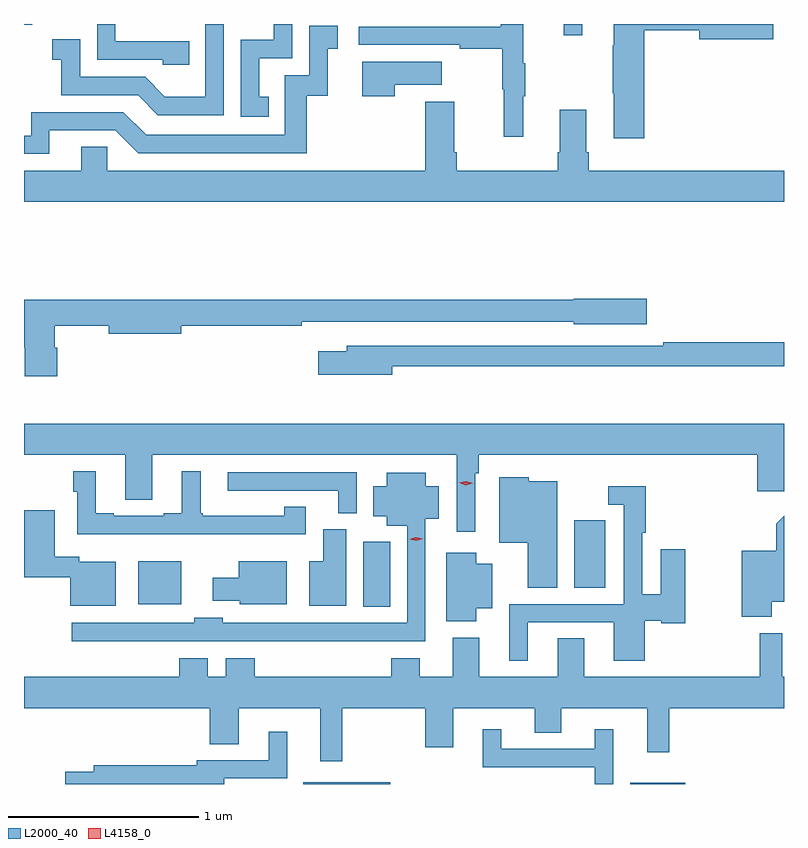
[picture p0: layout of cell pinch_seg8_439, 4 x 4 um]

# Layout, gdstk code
import gdstk
lib = gdstk.Library(unit=1e-6, precision=1e-09)
def R(c, l, rs):  # rectangles x0, y0, x1, y1
    for r in rs: c.add(gdstk.rectangle(r[:2], r[2:], *l))
def P(c, l, *ps):  # polygons
    for p in ps: c.add(gdstk.Polygon(p, *l))
L2000_40 = (2000, 40)
L4158_0 = (4158, 0)

pinch_seg8_439 = lib.new_cell('pinch_seg8_439')
R(pinch_seg8_439, L2000_40, [(334.643,1122.76,335.101,1122.768), (336.363,1122.76,336.652,1122.766), (334.958,1123.693,335.101,1124.035), (333.773,1123.706,334,1123.933), (336.068,1123.792,336.232,1124.149), (336.015,1126.701,336.112,1126.76), (333.173,1126.755,333.217,1126.76)])
P(pinch_seg8_439, L2000_40, [(334.043,1126.668),(333.654,1126.668),(333.654,1126.76),(333.558,1126.76),(333.558,1126.572),(333.903,1126.572),(333.903,1126.545),(334.043,1126.545)],
  [(335.801,1126.379),(335.812,1126.379),(335.812,1126.553),(335.801,1126.553),(335.801,1126.76),(335.683,1126.76),(335.683,1126.746),(334.935,1126.746),(334.935,1126.65),(335.467,1126.65),(335.467,1126.63),(335.691,1126.63),(335.691,1126.416),(335.698,1126.416),(335.698,1126.167),(335.801,1126.167)],
  [(334.46,1126.377),(334.411,1126.377),(334.411,1126.581),(334.584,1126.581),(334.584,1126.76),(334.488,1126.76),(334.488,1126.677),(334.314,1126.677),(334.314,1126.272),(334.46,1126.272)],
  [(334.224,1126.76),(334.128,1126.76),(334.128,1126.378),(333.914,1126.378),(333.81,1126.482),(333.468,1126.482),(333.468,1126.681),(333.321,1126.681),(333.321,1126.571),(333.37,1126.571),(333.37,1126.386),(333.773,1126.386),(333.878,1126.281),(334.224,1126.281)],
  [(336.437,1126.726),(336.728,1126.726),(336.728,1126.679),(337.117,1126.679),(337.117,1126.76),(336.278,1126.76),(336.278,1126.649),(336.271,1126.649),(336.271,1126.396),(336.278,1126.396),(336.278,1126.158),(336.437,1126.158)],
  [(333.307,1126.2),(333.654,1126.2),(333.774,1126.08),(334.661,1126.08),(334.661,1126.383),(334.772,1126.383),(334.772,1126.629),(334.825,1126.629),(334.825,1126.75),(334.674,1126.75),(334.674,1126.491),(334.545,1126.491),(334.545,1126.176),(333.816,1126.176),(333.696,1126.296),(333.21,1126.296),(333.21,1126.173),(333.173,1126.173),(333.173,1126.077),(333.307,1126.077)],
  [(335.123,1126.439),(335.371,1126.439),(335.371,1126.561),(334.952,1126.561),(334.952,1126.38),(335.123,1126.38)],
  [(337.173,1125.988),(336.146,1125.988),(336.146,1126.084),(336.133,1126.084),(336.133,1126.309),(335.993,1126.309),(335.993,1126.084),(335.981,1126.084),(335.981,1125.988),(335.45,1125.988),(335.45,1126.084),(335.437,1126.084),(335.437,1126.351),(335.285,1126.351),(335.285,1125.988),(333.612,1125.988),(333.612,1126.115),(333.473,1126.115),(333.473,1125.988),(333.173,1125.988),(333.173,1125.824),(337.173,1125.824)],
  [(333.347,1125.057),(333.334,1125.057),(333.334,1125.172),(333.62,1125.172),(333.62,1125.13),(334,1125.13),(334,1125.172),(334.634,1125.172),(334.634,1125.192),(336.066,1125.192),(336.066,1125.179),(336.451,1125.179),(336.451,1125.314),(336.066,1125.314),(336.066,1125.308),(333.173,1125.308),(333.173,1125.057),(333.176,1125.057),(333.176,1124.907),(333.347,1124.907)],
  [(335.11,1124.958),(337.173,1124.958),(337.173,1125.086),(336.538,1125.086),(336.538,1125.066),(334.871,1125.066),(334.871,1125.037),(334.722,1125.037),(334.722,1124.915),(335.11,1124.915)],
  [(335.547,1124.396),(335.567,1124.396),(335.567,1124.492),(337.031,1124.492),(337.031,1124.301),(337.173,1124.301),(337.173,1124.656),(333.173,1124.656),(333.173,1124.492),(333.707,1124.492),(333.707,1124.257),(333.847,1124.257),(333.847,1124.492),(335.451,1124.492),(335.451,1124.088),(335.547,1124.088)],
  [(334.208,1124.075),(334.657,1124.075),(334.657,1124.219),(334.544,1124.219),(334.544,1124.173),(334.114,1124.173),(334.114,1124.185),(334.102,1124.185),(334.102,1124.407),(334.004,1124.407),(334.004,1124.185),(333.908,1124.185),(333.908,1124.172),(333.646,1124.172),(333.646,1124.185),(333.55,1124.185),(333.55,1124.407),(333.433,1124.407),(333.433,1124.297),(333.453,1124.297),(333.453,1124.075),(334.008,1124.075),(334.008,1124.074),(334.208,1124.074)],
  [(334.923,1124.4),(334.245,1124.4),(334.245,1124.304),(334.826,1124.304),(334.826,1124.185),(334.923,1124.185)],
  [(333.968,1123.512),(334.471,1123.512),(334.471,1123.511),(335.021,1123.511),(335.021,1123.512),(335.286,1123.512),(335.286,1124.156),(335.356,1124.156),(335.356,1124.326),(335.287,1124.326),(335.287,1124.398),(335.081,1124.398),(335.081,1124.326),(335.012,1124.326),(335.012,1124.168),(335.081,1124.168),(335.081,1124.12),(335.19,1124.12),(335.19,1123.608),(334.218,1123.608),(334.218,1123.636),(334.068,1123.636),(334.068,1123.608),(333.423,1123.608),(333.423,1123.511),(333.968,1123.511)],
  [(335.98,1124.353),(335.829,1124.353),(335.829,1124.374),(335.675,1124.374),(335.675,1124.03),(335.825,1124.03),(335.825,1123.792),(335.98,1123.792)],
  [(335.824,1123.611),(336.278,1123.611),(336.278,1123.41),(336.44,1123.41),(336.44,1123.618),(336.528,1123.618),(336.528,1123.607),(336.654,1123.607),(336.654,1123.996),(336.524,1123.996),(336.524,1123.76),(336.426,1123.76),(336.426,1124.083),(336.446,1124.083),(336.446,1124.326),(336.249,1124.326),(336.249,1124.229),(336.33,1124.229),(336.33,1123.707),(335.726,1123.707),(335.726,1123.41),(335.824,1123.41)],
  [(333.655,1123.929),(333.465,1123.929),(333.465,1123.957),(333.334,1123.957),(333.334,1124.2),(333.173,1124.2),(333.173,1123.847),(333.416,1123.847),(333.416,1123.697),(333.655,1123.697)],
  [(337.108,1123.718),(337.173,1123.718),(337.173,1124.171),(337.133,1124.131),(337.133,1123.987),(336.95,1123.987),(336.95,1123.639),(337.108,1123.639)],
  [(334.87,1124.1),(334.748,1124.1),(334.748,1123.933),(334.673,1123.933),(334.673,1123.697),(334.87,1123.697)],
  [(335.554,1123.685),(335.638,1123.685),(335.638,1123.918),(335.554,1123.918),(335.554,1123.978),(335.396,1123.978),(335.396,1123.617),(335.554,1123.617)],
  [(334.555,1123.933),(334.304,1123.933),(334.304,1123.846),(334.167,1123.846),(334.167,1123.724),(334.308,1123.724),(334.308,1123.706),(334.555,1123.706)],
  [(334.847,1123.16),(335.284,1123.16),(335.284,1122.954),(335.431,1122.954),(335.431,1123.16),(335.861,1123.16),(335.861,1123.03),(336.001,1123.03),(336.001,1123.16),(336.452,1123.16),(336.452,1122.927),(336.569,1122.927),(336.569,1123.16),(337.173,1123.16),(337.173,1123.324),(337.163,1123.324),(337.163,1123.554),(337.045,1123.554),(337.045,1123.324),(336.121,1123.324),(336.121,1123.526),(335.981,1123.526),(335.981,1123.324),(335.569,1123.324),(335.569,1123.531),(335.429,1123.531),(335.429,1123.324),(335.257,1123.324),(335.257,1123.423),(335.105,1123.423),(335.105,1123.324),(334.388,1123.324),(334.388,1123.423),(334.235,1123.423),(334.235,1123.324),(334.141,1123.324),(334.141,1123.423),(333.989,1123.423),(333.989,1123.324),(333.173,1123.324),(333.173,1123.16),(334.151,1123.16),(334.151,1122.97),(334.303,1122.97),(334.303,1123.16),(334.733,1123.16),(334.733,1122.879),(334.847,1122.879)],
  [(336.273,1123.048),(336.176,1123.048),(336.176,1122.945),(335.686,1122.945),(335.686,1123.048),(335.588,1123.048),(335.588,1122.849),(336.177,1122.849),(336.177,1122.76),(336.273,1122.76)],
  [(334.228,1122.789),(334.558,1122.789),(334.558,1123.036),(334.46,1123.036),(334.46,1122.885),(334.082,1122.885),(334.082,1122.859),(333.539,1122.859),(333.539,1122.825),(333.39,1122.825),(333.39,1122.76),(334.228,1122.76)])
P(pinch_seg8_439, L4158_0, [(335.499,1124.333),(335.464,1124.345),(335.464,1124.345),(335.464,1124.345),(335.5,1124.353),(335.534,1124.342),(335.535,1124.342),(335.534,1124.342)],
  [(335.238,1124.039),(335.202,1124.047),(335.202,1124.047),(335.202,1124.047),(335.236,1124.059),(335.272,1124.052),(335.272,1124.052),(335.272,1124.051)])

lib.write_gds('pinch_seg8_439.gds')
